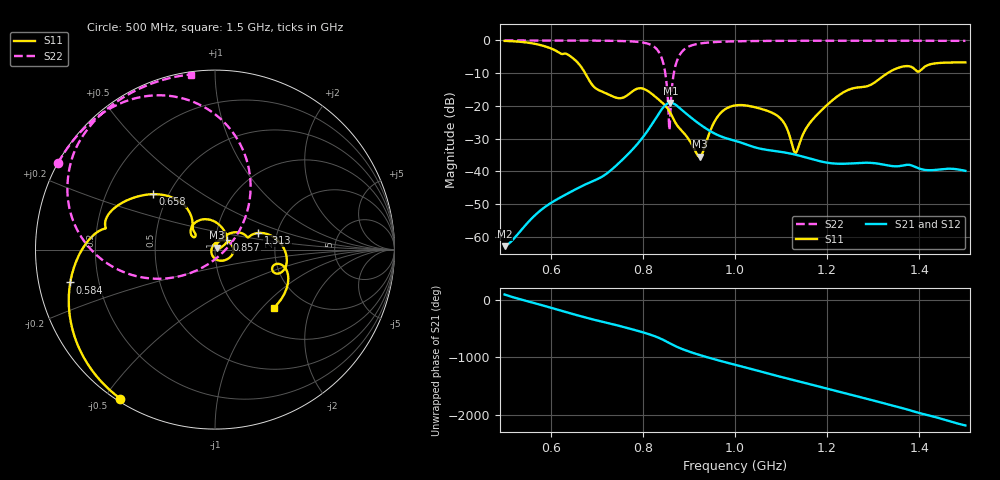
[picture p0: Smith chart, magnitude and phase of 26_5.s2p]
! TOUCHSTONE file generated by CST MICROWAVE STUDIO
! Date and time: Mon Oct 26 12:32:35 2020
! Project name: Scenario_1_Circular_Tissue_out_of_Line.cst
! Parameters = {dy1=87.525; L_HA=400; MT=2.54; Rad_Dielectric=30; Rad_Lower=7.3; Rad_Upper=30; a_HA=580; a_WG=246; b_HA=500; b_WG=121; c_HA=0; c_WG=187; d_feed=85; dx1=866; h_feed=15; h_lower=18; h_upper=40}
! Header version: 2018
! Port assignment regex: !\s*Touchstone port\s*([0-9]+)\s*=\s*(CST MWS port|CST DS port)\s*([0-9]+|Zmin|Zmax)\s*\(\"(.*)\"\)(\s*mode\s*([0-9]+))?.*
! Touchstone port assignment:
! Touchstone port 1 = CST MWS port 1 ("")
! Touchstone port 2 = CST MWS port 2 ("")
# GHz S DB R 50
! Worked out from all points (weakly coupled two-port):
!   1001 points, 500 MHz to 1.5 GHz, reference 50 ohm
!   highest |S21| = -19.06 dB at 860 MHz (marker M1); lowest = -62.8 dB at 500 MHz (marker M2)
!   lowest |S11| = -35.5 dB at 923 MHz (marker M3), VSWR 1.03, Z = 51.3 + j1.12 ohm
!   |S11| at or under -10 dB: 674.8 MHz to 1.331 GHz (656 MHz wide, 65.4 % of centre)
!   |S22| runs from -27.4 to 0.0 dB; largest |S21 - S12| = 7.2e-06
!   S11 on the Smith chart (normalised r, x): 500 MHz: 0.01, -0.55; 584 MHz: 0.10, -0.11; 658 MHz: 0.41, +0.32; 857 MHz: 1.13, +0.12; 1.313 GHz: 1.59, +0.32; 1.5 GHz: 1.42, -1.17
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0.5  -0.14 -122.5  -62.80 98.2  -62.80 98.2  -0.01 151.1
0.584  -1.65 -167.2  -51.21 -94.6  -51.21 -94.6  -0.02 145.3
0.658  -6.69 138.2  -45.16 95.0  -45.16 95.0  -0.04 139.2
0.667  -8.25 130.3  -44.52 75.3  -44.52 75.3  -0.04 138.3
0.731  -16.87 140.7  -39.59 -53.4  -39.59 -53.4  -0.11 130.7
0.779  -15.39 143.3  -33.07 -154.1  -33.07 -154.1  -0.33 120.6
0.834  -18.00 70.6  -22.46 63.6  -22.46 63.6  -3.37 82.9
0.846  -19.53 55.1  -20.15 18.7  -20.15 18.7  -7.96 60.3
0.857  -21.44 39.0  -19.11 -27.6  -19.11 -27.6  -26.31 -15.8
0.86  -22.17 34.8  -19.06 -40.4  -19.06 -40.4  -20.82 -115.8
0.868  -24.41 27.5  -19.37 -73.2  -19.37 -73.2  -9.44 -151.3
0.878  -26.58 25.0  -20.43 -110.3  -20.43 -110.3  -4.93 -169.6
0.923  -35.51 40.6  -25.53 122.3  -25.53 122.3  -0.96 156.7
0.962  -23.32 50.0  -28.85 32.0  -28.85 32.0  -0.45 146.4
1  -19.84 4.6  -30.62 -48.9  -30.62 -48.9  -0.27 140.2
1.093  -23.11 -62.7  -33.88 112.6  -33.88 112.6  -0.13 130.3
1.131  -34.33 164.8  -34.87 35.1  -34.87 35.1  -0.11 127.1
1.167  -24.40 64.3  -36.24 -38.7  -36.24 -38.7  -0.09 124.2
1.233  -16.03 37.8  -37.65 -173.5  -37.65 -173.5  -0.08 119.1
1.313  -11.80 21.1  -37.67 18.9  -37.67 18.9  -0.08 113.1
1.334  -9.72 13.3  -38.21 -26.3  -38.21 -26.3  -0.09 111.5
1.5  -6.72 -44.5  -39.81 -30.2  -39.81 -30.1  -0.13 97.9
